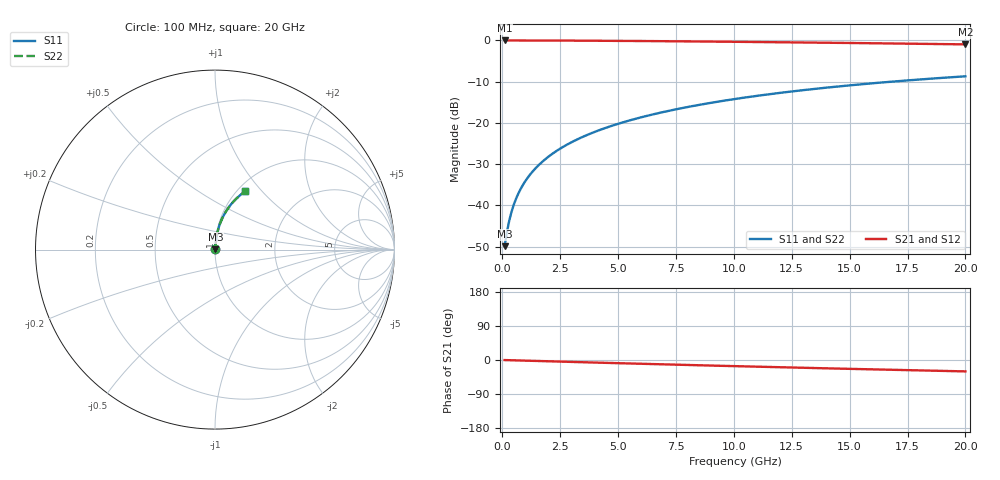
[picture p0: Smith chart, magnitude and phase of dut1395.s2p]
! Touchstone file exported from HFSS 2024.1.0
!  File:  C:/UserFiles/LocalFiles/RDL_TSV_Batchsim/temp_RDL_top_1395_1780367864.aedt
!  Generated:  10:40:17 AM Jun  2, 2026
!  Design:  RDL_top
!  Project:  temp_RDL_top_1395_1780367864
!  Setup:  Setup1
!  Solution:  Sweep
! Variables:
!  dtsv = 10.80580581um
!  hbump = 3um
!  htsv = 79.46um
!  ldown = 100um
!  lrdl = 345.42um
!  p = 40
!  p1 = 55.05um
!  rhole = 1um
!  t = 450um
!  tdown = 3.915915916um
!  trdl = 3.81um
!  wdown = 15.38538539um
!  wrdl = 13.51um
# GHz S MA R 50.000000
! Terminal data exported
! Port[1] = Box2_T1
! Port[2] = Box2_T2
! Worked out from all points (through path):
!   200 points, 100 MHz to 20 GHz, reference 50 ohm
!   highest |S21| = -0.02 dB at 100 MHz (marker M1); lowest = -1.0 dB at 20 GHz (marker M2)
!   group delay of S21, straight-line fit = 4.17 ps
!   lowest |S11| = -49.9 dB at 100 MHz (marker M3), VSWR 1.01, Z = 50.3 + j0.203 ohm
!   |S11| at or under -10 dB: start of sweep to 16.83 GHz
!   |S22| runs from -49.9 to -8.7 dB; largest |S21 - S12| = 3.3e-15
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0.1  0.003211 38.9  0.9975 -0.2  0.9975 -0.2  0.003211 38.9
! Gamma 0 0 0 0
! Port Impedance 50 0 50 0
0.2  0.004759 57.6  0.9974 -0.4  0.9974 -0.4  0.004759 57.6
0.3  0.006546 66.4  0.9974 -0.5  0.9974 -0.5  0.006546 66.4
0.4  0.008404 71.2  0.9973 -0.7  0.9973 -0.7  0.008404 71.2
0.5  0.01029 74.3  0.9972 -0.9  0.9972 -0.9  0.01029 74.3
0.6  0.01218 76.4  0.9971 -1.0  0.9971 -1.0  0.01218 76.4
0.8  0.01599 79.0  0.9969 -1.4  0.9969 -1.4  0.01599 79.0
1.1  0.02174 81.2  0.9966 -1.9  0.9966 -1.9  0.02174 81.2
1.5  0.02945 82.6  0.9961 -2.6  0.9961 -2.6  0.02945 82.6
1.8  0.03525 83.1  0.9956 -3.1  0.9956 -3.1  0.03525 83.1
2.1  0.04106 83.4  0.995 -3.6  0.995 -3.6  0.04106 83.4
2.7  0.05271 83.5  0.9937 -4.6  0.9937 -4.6  0.05271 83.5
3.5  0.06827 83.2  0.9915 -5.9  0.9915 -5.9  0.06827 83.2
4.2  0.08191 82.7  0.9892 -7.1  0.9892 -7.1  0.08191 82.7
5  0.0975 82.0  0.9862 -8.4  0.9862 -8.4  0.09751 82.0
5.9  0.115 81.0  0.9824 -9.8  0.9824 -9.8  0.115 81.0
6.8  0.1325 80.0  0.9782 -11.3  0.9782 -11.3  0.1325 80.0
8.3  0.1615 78.1  0.9706 -13.6  0.9706 -13.6  0.1615 78.1
10.1  0.1959 75.8  0.9606 -16.3  0.9606 -16.3  0.1959 75.8
13.4  0.2568 71.3  0.9403 -21.1  0.9403 -21.1  0.2568 71.3
16.7  0.3141 66.8  0.9181 -25.7  0.9181 -25.7  0.3141 66.8
20  0.367 62.4  0.8946 -30.1  0.8946 -30.1  0.367 62.4
